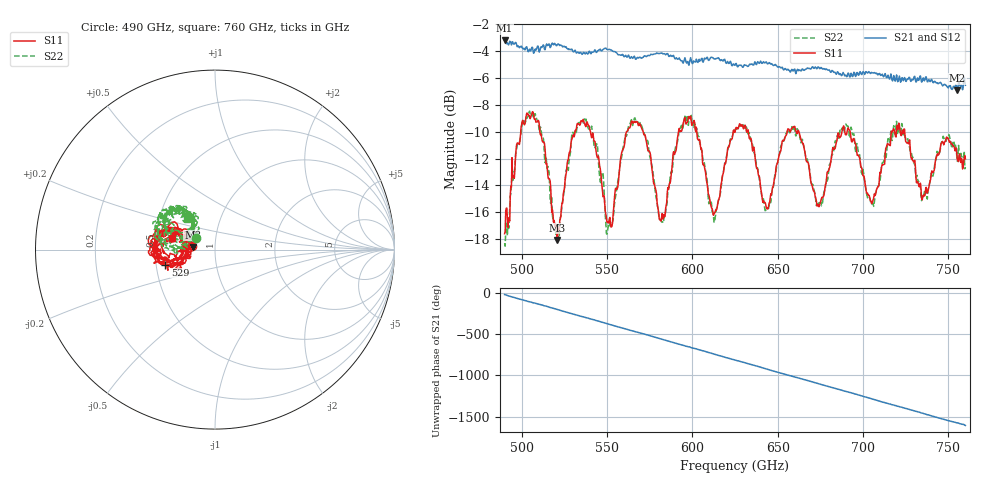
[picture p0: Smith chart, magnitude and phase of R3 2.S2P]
! Python used to change reference impedance from 50 to 1.
# Hz S RI R 1
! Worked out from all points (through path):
!   811 points, 490 GHz to 760 GHz, reference 1 ohm
!   highest |S21| = -3.21 dB at 490 GHz (marker M1); lowest = -6.9 dB at 755.3 GHz (marker M2)
!   group delay of S21, straight-line fit = 16.3 ps
!   lowest |S11| = -18.1 dB at 520.7 GHz (marker M3), VSWR 1.29, Z = 0.779 + j0.024 ohm
!   |S11| at or under -10 dB: 662.4 GHz to 687.7 GHz (25.26 GHz wide, 3.74 % of centre); 692.4 GHz to 716.6 GHz (24.19 GHz wide, 3.43 % of centre); 724.4 GHz to end of sweep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
!   |S22| runs from -18.5 to -8.5 dB; largest |S21 - S12| = 0.15
!   S11 on the Smith chart (normalised r, x): 490 GHz: 0.77, +0.03; 529 GHz: 0.56, -0.10; 760 GHz: 0.61, +0.08
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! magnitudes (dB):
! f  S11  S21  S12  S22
! 490 GHz  -17.6  -3.2  -3.1  -18.3
! 505.3 GHz  -8.9  -4.0  -4.0  -8.8
! 520.7 GHz  -18.1  -3.6  -3.6  -17.6
! 529 GHz  -10.8  -3.9  -3.9  -10.8
! 535 GHz  -9.2  -4.2  -4.2  -9.3
! 543.3 GHz  -11.2  -4.0  -4.0  -11.1
! 550.7 GHz  -16.7  -3.9  -3.9  -17.2
! 566.7 GHz  -9.3  -4.6  -4.6  -9.1
! 580 GHz  -15.8  -4.2  -4.2  -15.8
! 598 GHz  -8.9  -5.1  -5.0  -9.1
! 613 GHz  -16.1  -4.6  -4.6  -16.8
! 625 GHz  -10.1  -5.1  -5.0  -9.9
! 643.3 GHz  -15.7  -4.8  -4.8  -15.8
! 659 GHz  -9.7  -5.5  -5.5  -9.8
! 670 GHz  -14.0  -5.2  -5.2  -13.9
! 675.3 GHz  -15.1  -5.2  -5.2  -15.2
! 690.3 GHz  -10.2  -5.9  -5.9  -9.5
! 705.7 GHz  -15.2  -5.6  -5.6  -15.3
! 715 GHz  -11.0  -5.9  -5.9  -10.6
! 735.3 GHz  -14.7  -6.0  -6.0  -14.8
! 755.3 GHz  -12.1  -6.9  -6.9  -12.2
! 760 GHz  -12.0  -6.5  -6.5  -12.6
